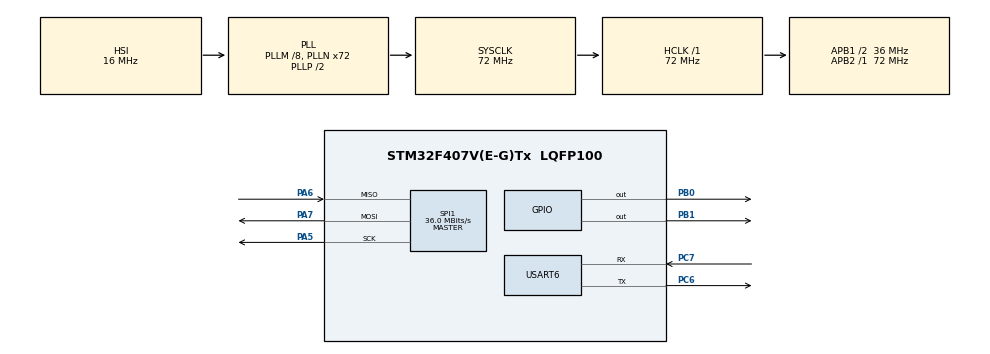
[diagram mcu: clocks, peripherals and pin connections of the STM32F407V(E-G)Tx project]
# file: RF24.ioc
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Mcu.Family=STM32F4
Mcu.Name=STM32F407V(E-G)Tx
Mcu.Package=LQFP100
NVIC.PriorityGroup=NVIC_PRIORITYGROUP_4
PA13.Mode=Serial_Wire
PA13.Signal=SYS_JTMS-SWDIO
PA14.Mode=Serial_Wire
PA14.Signal=SYS_JTCK-SWCLK
PA5.Mode=Full_Duplex_Master
PA5.Signal=SPI1_SCK
PA6.Mode=Full_Duplex_Master
PA6.Signal=SPI1_MISO
PA7.Mode=Full_Duplex_Master
PA7.Signal=SPI1_MOSI
PB0.Signal=GPIO_Output
PB1.Signal=GPIO_Output
PC6.Mode=Asynchronous
PC6.Signal=USART6_TX
PC7.Mode=Asynchronous
PC7.Signal=USART6_RX
PH0-OSC_IN.Mode=HSE-External-Oscillator
PH0-OSC_IN.Signal=RCC_OSC_IN
PH1-OSC_OUT.Mode=HSE-External-Oscillator
PH1-OSC_OUT.Signal=RCC_OSC_OUT
ProjectManager.HeapSize=0x200
ProjectManager.StackSize=0x400
ProjectManager.TargetToolchain=MDK-ARM V5.32
RCC.48MHZClocksFreq_Value=36000000
RCC.AHBFreq_Value=72000000
RCC.APB1CLKDivider=RCC_HCLK_DIV2
RCC.APB1Freq_Value=36000000
RCC.APB1TimFreq_Value=72000000
RCC.APB2Freq_Value=72000000
RCC.APB2TimFreq_Value=72000000
RCC.CortexFreq_Value=72000000
RCC.HCLKFreq_Value=72000000
RCC.HSE_VALUE=25000000
RCC.HSI_VALUE=16000000
RCC.LSE_VALUE=32768
RCC.PLLM=8
RCC.PLLN=72
RCC.SYSCLKFreq_VALUE=72000000
RCC.SYSCLKSource=RCC_SYSCLKSOURCE_PLLCLK
RCC.VCOOutputFreq_Value=144000000
SPI1.CalculateBaudRate=36.0 MBits/s
SPI1.Direction=SPI_DIRECTION_2LINES
SPI1.Mode=SPI_MODE_MASTER
SPI1.VirtualType=VM_MASTER
USART6.VirtualMode=VM_ASYNC
board=custom

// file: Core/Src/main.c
/* USER CODE BEGIN Header */
/**
  ******************************************************************************
  * @file           : main.c
  * @brief          : Main program body
  ******************************************************************************
  * @attention
  *
  * Copyright (c) 2023 STMicroelectronics.
  * All rights reserved.
  *
  * This software is licensed under terms that can be found in the LICENSE file
  * in the root directory of this software component.
  * If no LICENSE file comes with this software, it is provided AS-IS.
  *
  ******************************************************************************
  */
/* USER CODE END Header */
#include "main.h"
#include "spi.h"
#include "usart.h"
#include "gpio.h"

/* USER CODE BEGIN Includes */
#include "MY_NRF24.h"
#include <stdio.h>
/* USER CODE END Includes */

/* USER CODE BEGIN PD */
#define nrf_CSN_PORT		GPIOB
#define nrf_CSN_PIN			GPIO_PIN_0

#define nrf_CE_PORT			GPIOB
#define nrf_CE_PIN			GPIO_PIN_1
/* USER CODE END PD */

/* USER CODE BEGIN PV */

uint64_t RxpipeAddrs = 0xAABBCCDDEE;
char myRxData[50];
char myAckPayload[32] = "Ack by STM!";
/* USER CODE END PV */

void SystemClock_Config(void);

int main(void)
{

  /* MCU Configuration--------------------------------------------------------*/

  /* Reset of all peripherals, Initializes the Flash interface and the Systick. */
  HAL_Init();

  /* Configure the system clock */
  SystemClock_Config();

  /* Initialize all configured peripherals */
  MX_GPIO_Init();
  MX_SPI1_Init();
  MX_USART6_UART_Init();
  /* USER CODE BEGIN 2 */
	char a[80] = "Rx\r\n";
	HAL_UART_Transmit(&huart6,(uint8_t *)a, strlen(a), 10);

	NRF24_begin(GPIOB, nrf_CSN_PIN, nrf_CE_PIN, hspi1);
	nrf24_DebugUART_Init(huart6);

	printRadioSettings();
	//**** TRANSMIT - NO ACK ****//
	NRF24_startListening();

	NRF24_openReadingPipe(1, RxpipeAddrs);

	NRF24_setAutoAck(false);
	NRF24_setChannel(52);
	NRF24_setPayloadSize(32);

  /* USER CODE END 2 */

  /* Infinite loop */
  /* USER CODE BEGIN WHILE */
  while (1)
  {
		if(NRF24_available())
		{
			NRF24_read(myRxData, 32);

			myRxData[32] = '\r'; myRxData[32+1] = '\n';
			HAL_UART_Transmit(&huart6, (uint8_t *)myRxData, 32+2, 10);
		}
    /* USER CODE END WHILE */

  }
}

void SystemClock_Config(void)
{
  RCC_OscInitTypeDef RCC_OscInitStruct = {0};
  RCC_ClkInitTypeDef RCC_ClkInitStruct = {0};

  /** Configure the main internal regulator output voltage
  */
  __HAL_RCC_PWR_CLK_ENABLE();
  __HAL_PWR_VOLTAGESCALING_CONFIG(PWR_REGULATOR_VOLTAGE_SCALE1);

  /** Initializes the RCC Oscillators according to the specified parameters
  * in the RCC_OscInitTypeDef structure.
  */
  RCC_OscInitStruct.OscillatorType = RCC_OSCILLATORTYPE_HSI;
  RCC_OscInitStruct.HSIState = RCC_HSI_ON;
  RCC_OscInitStruct.HSICalibrationValue = RCC_HSICALIBRATION_DEFAULT;
  RCC_OscInitStruct.PLL.PLLState = RCC_PLL_ON;
  RCC_OscInitStruct.PLL.PLLSource = RCC_PLLSOURCE_HSI;
  RCC_OscInitStruct.PLL.PLLM = 8;
  RCC_OscInitStruct.PLL.PLLN = 72;
  RCC_OscInitStruct.PLL.PLLP = RCC_PLLP_DIV2;
  RCC_OscInitStruct.PLL.PLLQ = 4;
  if (HAL_RCC_OscConfig(&RCC_OscInitStruct) != HAL_OK)
  {
    Error_Handler();
  }

  /** Initializes the CPU, AHB and APB buses clocks
  */
  RCC_ClkInitStruct.ClockType = RCC_CLOCKTYPE_HCLK|RCC_CLOCKTYPE_SYSCLK
                              |RCC_CLOCKTYPE_PCLK1|RCC_CLOCKTYPE_PCLK2;
  RCC_ClkInitStruct.SYSCLKSource = RCC_SYSCLKSOURCE_PLLCLK;
  RCC_ClkInitStruct.AHBCLKDivider = RCC_SYSCLK_DIV1;
  RCC_ClkInitStruct.APB1CLKDivider = RCC_HCLK_DIV2;
  RCC_ClkInitStruct.APB2CLKDivider = RCC_HCLK_DIV1;

  if (HAL_RCC_ClockConfig(&RCC_ClkInitStruct, FLASH_LATENCY_2) != HAL_OK)
  {
    Error_Handler();
  }
}

void Error_Handler(void)
{
  __disable_irq();
  while (1)
  {
  }
}
